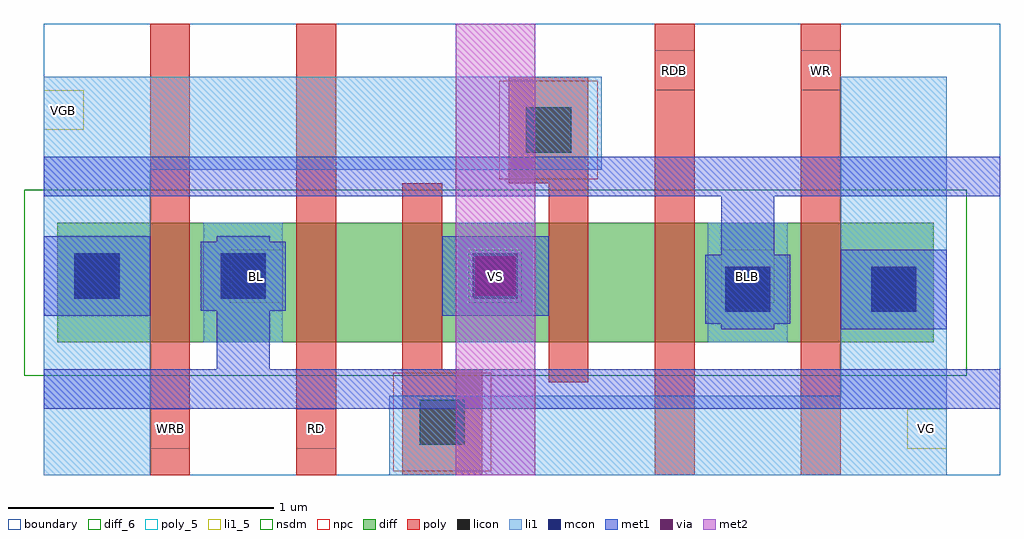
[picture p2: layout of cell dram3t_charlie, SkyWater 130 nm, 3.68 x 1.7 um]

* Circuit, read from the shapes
.subckt dram3t_charlie BL BLB RD RDB VG VGB VS WR WRB
XM1 BL WRB VGB VSUBS sky130_fd_pr__nfet_01v8 w=0.45 l=0.15
XM2 n1 RD BL VSUBS sky130_fd_pr__nfet_01v8 w=0.45 l=0.15
XM3 VS VG n1 VSUBS sky130_fd_pr__nfet_01v8 w=0.45 l=0.15
XM4 n2 VGB VS VSUBS sky130_fd_pr__nfet_01v8 w=0.45 l=0.15
XM5 BLB RDB n2 VSUBS sky130_fd_pr__nfet_01v8 w=0.45 l=0.15
XM6 VG WR BLB VSUBS sky130_fd_pr__nfet_01v8 w=0.45 l=0.15
.ends

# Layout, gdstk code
import gdstk
lib = gdstk.Library(unit=1e-6, precision=1e-09)
def R(c, l, rs):  # rectangles x0, y0, x1, y1
    for r in rs: c.add(gdstk.rectangle(r[:2], r[2:], *l))
def A(c, l, x, y, w, h, nx, ny, dx, dy):  # array of equal rectangles
    R(c, l, [(x+i*dx, y+j*dy, x+i*dx+w, y+j*dy+h) for i in range(nx) for j in range(ny)])
diff_6 = (65, 6)
diff = (65, 20)
poly_5 = (66, 5)
poly = (66, 20)
licon = (66, 44)
li1_5 = (67, 5)
li1 = (67, 20)
mcon = (67, 44)
met1 = (68, 20)
via = (68, 44)
met2 = (69, 20)
nsdm = (93, 44)
npc = (95, 20)
boundary = (235, 4)

dram3t_charlie = lib.new_cell('dram3t_charlie')
R(dram3t_charlie, diff_6, [(0.7,0.65,0.9,0.85), (2.55,0.65,2.75,0.85)])
R(dram3t_charlie, diff, [(0.05,0.5,3.35,0.95)])
R(dram3t_charlie, poly_5, [(0.4,0.1,0.55,0.25), (0.95,0.1,1.1,0.25), (2.3,1.45,2.45,1.6), (2.85,1.45,3,1.6)])
R(dram3t_charlie, poly, [(0.4,0,0.55,1.7), (0.95,0,1.1,1.7), (1.35,0,1.65,0.4), (2.3,0,2.45,1.7), (2.85,0,3,1.7), (1.9,0.35,2.05,1.1), (1.35,0.4,1.5,1.1), (1.75,1.1,2.05,1.5)])
R(dram3t_charlie, licon, [(1.415,0.115,1.585,0.285), (2.565,0.615,2.735,0.785), (3.115,0.615,3.285,0.785), (0.115,0.665,0.285,0.835), (0.665,0.665,0.835,0.835), (1.615,0.665,1.785,0.835), (1.815,1.215,1.985,1.385)])
R(dram3t_charlie, li1_5, [(3.25,0.1,3.4,0.25), (1.6,0.65,1.8,0.85), (0,1.3,0.15,1.45)])
A(dram3t_charlie, li1, 0.6, 0.5, 0.3, 0.45, 3, 1, 0.95, 0)
R(dram3t_charlie, li1, [(0,0,0.4,1.15), (1.3,0,3.4,0.3), (3,0.3,3.4,1.5), (0,1.15,2.1,1.5)])
R(dram3t_charlie, mcon, [(2.565,0.615,2.735,0.785), (3.115,0.615,3.285,0.785), (0.115,0.665,0.285,0.835), (0.665,0.665,0.835,0.835), (1.615,0.665,1.785,0.835)])
R(dram3t_charlie, met1, [(0,0.25,3.6,0.4), (0.65,0.4,0.85,0.62), (2.55,0.55,2.75,0.57), (3,0.55,3.4,0.85), (2.49,0.57,2.81,0.83), (0,0.6,0.4,0.9), (1.5,0.6,1.9,0.9), (0.59,0.62,0.91,0.88), (2.55,0.83,2.75,1.05), (0.65,0.88,0.85,0.9), (0,1.05,3.6,1.2)])
R(dram3t_charlie, via, [(1.625,0.675,1.775,0.825)])
R(dram3t_charlie, met2, [(1.55,0,1.85,1.7)])
R(dram3t_charlie, nsdm, [(-0.075,0.375,3.475,1.075)])
R(dram3t_charlie, npc, [(1.315,0.015,1.685,0.385), (1.715,1.115,2.085,1.485)])
R(dram3t_charlie, boundary, [(0,0,3.6,1.7)])
dram3t_charlie.add(gdstk.Label('VS', (1.7,0.75), layer=67, texttype=5))
dram3t_charlie.add(gdstk.Label('BL', (0.8,0.75), layer=65, texttype=6))
dram3t_charlie.add(gdstk.Label('BLB', (2.65,0.75), layer=65, texttype=6))
dram3t_charlie.add(gdstk.Label('RDB', (2.375,1.525), layer=66, texttype=5))
dram3t_charlie.add(gdstk.Label('RD', (1.025,0.175), layer=66, texttype=5))
dram3t_charlie.add(gdstk.Label('WR', (2.925,1.525), layer=66, texttype=5))
dram3t_charlie.add(gdstk.Label('WRB', (0.475,0.175), layer=66, texttype=5))
dram3t_charlie.add(gdstk.Label('VGB', (0.075,1.375), layer=67, texttype=5))
dram3t_charlie.add(gdstk.Label('VG', (3.325,0.175), layer=67, texttype=5))

lib.write_gds('dram3t_charlie.gds')
